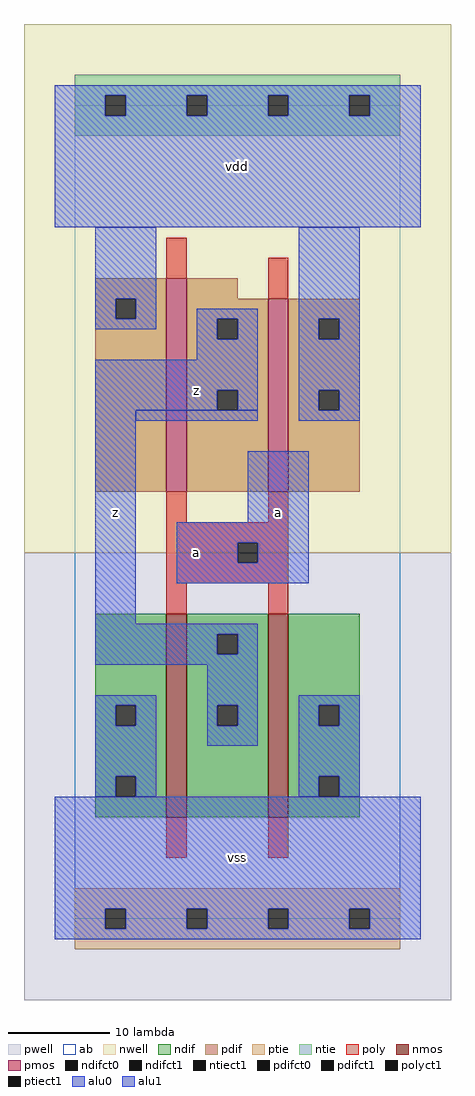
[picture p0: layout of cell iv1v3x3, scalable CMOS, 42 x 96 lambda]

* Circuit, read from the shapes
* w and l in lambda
.subckt iv1v3x3 a vdd vss z
M1 z a vss vss nfet w=20 l=2 m=2
M2 z a vdd vdd pfet w=21 l=2
M3 vdd a z vdd pfet w=19 l=2
.ends

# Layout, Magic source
magic
tech scmos
<< ab >>
rect 0 0 32 80
<< nwell >>
rect -5 36 37 88
<< pwell >>
rect -5 -8 37 36
<< poly >>
rect 9 63 11 67
rect 19 61 21 65
rect 9 39 11 42
rect 19 39 21 42
rect 9 37 21 39
rect 9 35 16 37
rect 18 35 21 37
rect 9 33 21 35
rect 9 30 11 33
rect 19 30 21 33
rect 9 6 11 10
rect 19 6 21 10
<< ndif >>
rect 2 21 9 30
rect 2 19 4 21
rect 6 19 9 21
rect 2 14 9 19
rect 2 12 4 14
rect 6 12 9 14
rect 2 10 9 12
rect 11 28 19 30
rect 11 26 14 28
rect 16 26 19 28
rect 11 21 19 26
rect 11 19 14 21
rect 16 19 19 21
rect 11 10 19 19
rect 21 21 28 30
rect 21 19 24 21
rect 26 19 28 21
rect 21 14 28 19
rect 21 12 24 14
rect 26 12 28 14
rect 21 10 28 12
<< pdif >>
rect 2 61 9 63
rect 2 59 4 61
rect 6 59 9 61
rect 2 42 9 59
rect 11 61 16 63
rect 11 59 19 61
rect 11 57 14 59
rect 16 57 19 59
rect 11 52 19 57
rect 11 50 14 52
rect 16 50 19 52
rect 11 42 19 50
rect 21 59 28 61
rect 21 57 24 59
rect 26 57 28 59
rect 21 52 28 57
rect 21 50 24 52
rect 26 50 28 52
rect 21 42 28 50
<< alu1 >>
rect -2 81 34 82
rect -2 79 3 81
rect 5 79 11 81
rect 13 79 19 81
rect 21 79 27 81
rect 29 79 34 81
rect -2 68 34 79
rect 12 59 18 60
rect 12 57 14 59
rect 16 57 18 59
rect 12 55 18 57
rect 2 52 18 55
rect 2 50 14 52
rect 16 50 18 52
rect 2 29 6 50
rect 17 39 23 46
rect 10 37 23 39
rect 10 35 16 37
rect 18 35 23 37
rect 10 33 23 35
rect 2 28 18 29
rect 2 26 14 28
rect 16 26 18 28
rect 2 25 18 26
rect 13 21 18 25
rect 13 19 14 21
rect 16 19 18 21
rect 13 17 18 19
rect -2 1 34 12
rect -2 -1 3 1
rect 5 -1 11 1
rect 13 -1 19 1
rect 21 -1 27 1
rect 29 -1 34 1
rect -2 -2 34 -1
<< ptie >>
rect 0 1 32 3
rect 0 -1 3 1
rect 5 -1 11 1
rect 13 -1 19 1
rect 21 -1 27 1
rect 29 -1 32 1
rect 0 -3 32 -1
<< ntie >>
rect 0 81 32 83
rect 0 79 3 81
rect 5 79 11 81
rect 13 79 19 81
rect 21 79 27 81
rect 29 79 32 81
rect 0 77 32 79
<< nmos >>
rect 9 10 11 30
rect 19 10 21 30
<< pmos >>
rect 9 42 11 63
rect 19 42 21 61
<< polyct1 >>
rect 16 35 18 37
<< ndifct0 >>
rect 4 19 6 21
rect 4 12 6 14
rect 24 19 26 21
rect 24 12 26 14
<< ndifct1 >>
rect 14 26 16 28
rect 14 19 16 21
<< ntiect1 >>
rect 3 79 5 81
rect 11 79 13 81
rect 19 79 21 81
rect 27 79 29 81
<< ptiect1 >>
rect 3 -1 5 1
rect 11 -1 13 1
rect 19 -1 21 1
rect 27 -1 29 1
<< pdifct0 >>
rect 4 59 6 61
rect 24 57 26 59
rect 24 50 26 52
<< pdifct1 >>
rect 14 57 16 59
rect 14 50 16 52
<< alu0 >>
rect 2 61 8 68
rect 2 59 4 61
rect 6 59 8 61
rect 2 58 8 59
rect 6 49 18 50
rect 22 59 28 68
rect 22 57 24 59
rect 26 57 28 59
rect 22 52 28 57
rect 22 50 24 52
rect 26 50 28 52
rect 22 49 28 50
rect 2 21 8 22
rect 2 19 4 21
rect 6 19 8 21
rect 2 14 8 19
rect 22 21 28 22
rect 22 19 24 21
rect 26 19 28 21
rect 2 12 4 14
rect 6 12 8 14
rect 22 14 28 19
rect 22 12 24 14
rect 26 12 28 14
<< labels >>
rlabel alu1 4 40 4 40 6 z
rlabel alu1 12 36 12 36 6 a
rlabel alu1 12 52 12 52 6 z
rlabel alu1 16 6 16 6 6 vss
rlabel alu1 20 40 20 40 6 a
rlabel alu1 16 74 16 74 6 vdd
<< end >>
